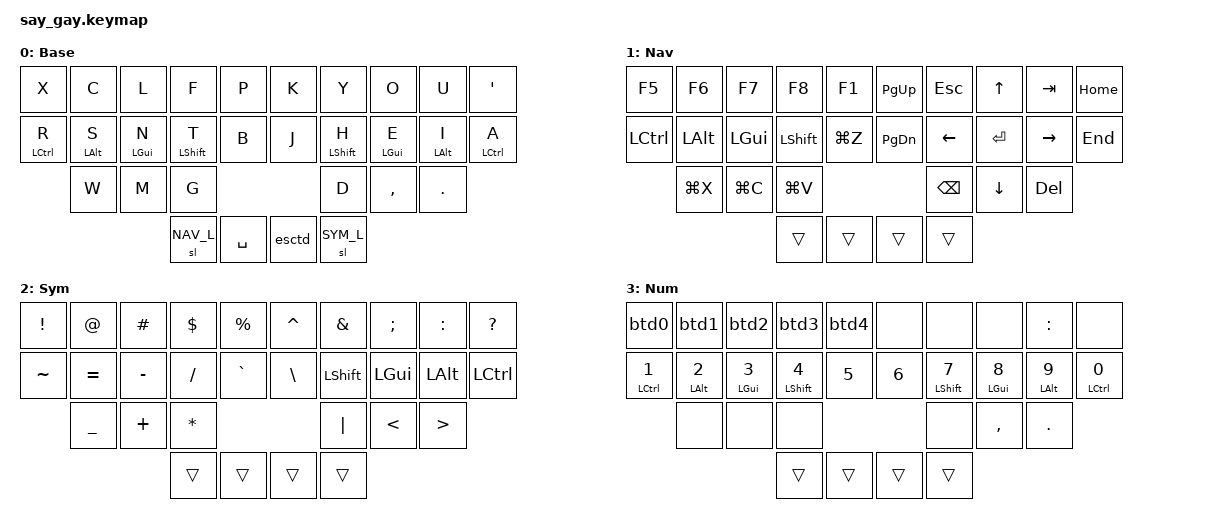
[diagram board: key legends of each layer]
/*
 * Copyright (c) 2020 The ZMK Contributors
 *
 * SPDX-License-Identifier: MIT
 */

#include <behaviors.dtsi>
#include <dt-bindings/zmk/keys.h>
#include <dt-bindings/zmk/bt.h>

/* Layers */
#define DEF_L 0
#define NAV_L 1
#define SYM_L 2
#define NUM_L 3

/* Shortcuts */
#define CUT LG(X)
#define COPY LG(C)
#define PASTE LG(V)
#define UNDO LG(Z)
#define SALL LG(A)

/* Key position groups */
#define KEYS_L 0 1 2 3 4 10 11 12 13 14 20 21 22
#define KEYS_R 5 6 7 8 9 15 16 17 18 19 23 24 25
#define THUMBS 26 27 28 29

/* Behavior Settings */
&sk {
  release-after-ms = <250>;
  quick-release;
};

&sl {
  release-after-ms = <250>;
};

/ {
    behaviors {
        mtl: mod_tap_left {
            compatible = "zmk,behavior-hold-tap";
            display-name = "MOD_TAP_LEFT";
            #binding-cells = <2>;
            flavor = "balanced";
            tapping-term-ms = <280>;
            quick-tap-ms = <175>;
            bindings = <&kp>, <&kp>;
            hold-trigger-key-positions = <KEYS_R THUMBS>;
	    hold-trigger-on-release;
        };
        mtr: mod_tap_right {
            compatible = "zmk,behavior-hold-tap";
            display-name = "MOD_TAP_RIGHT";
            #binding-cells = <2>;
            flavor = "balanced";
            tapping-term-ms = <280>;
            quick-tap-ms = <175>;
            bindings = <&kp>, <&kp>;
            hold-trigger-key-positions = <KEYS_L THUMBS>;
	    hold-trigger-on-release;
        };
        btd0: bluetooth_tap_dance0 {
            compatible = "zmk,behavior-tap-dance";
            display-name = "BT TD0";
            #binding-cells = <0>;
            tapping-term-ms = <200>;
            bindings = <&none>, <&bt BT_SEL 0>;
        };
        btd1: bluetooth_tap_dance1 {
            compatible = "zmk,behavior-tap-dance";
            display-name = "BT TD1";
            #binding-cells = <0>;
            tapping-term-ms = <200>;
            bindings = <&none>, <&bt BT_SEL 1>;
        };
        btd2: bluetooth_tap_dance2 {
            compatible = "zmk,behavior-tap-dance";
            display-name = "BT TD2";
            #binding-cells = <0>;
            tapping-term-ms = <200>;
            bindings = <&none>, <&bt BT_SEL 2>;
        };
        btd3: bluetooth_tap_dance3 {
            compatible = "zmk,behavior-tap-dance";
            display-name = "BT TD3";
            #binding-cells = <0>;
            tapping-term-ms = <200>;
            bindings = <&none>, <&bt BT_SEL 3>;
        };
        btd4: bluetooth_tap_dance4 {
            compatible = "zmk,behavior-tap-dance";
            display-name = "BT TD4";
            #binding-cells = <0>;
            tapping-term-ms = <200>;
            bindings = <&none>, <&bt BT_SEL 4>;
        };
        esctd: shift_escape_tap_dance {
            compatible = "zmk,behavior-tap-dance";
            display-name = "Shift Escape";
            #binding-cells = <0>;
            tapping-term-ms = <200>;
            bindings = <&kp LSHFT>, <&kp ESC>;
        };
    };
    conditional_layers {
        compatible = "zmk,conditional-layers";
        tri_layer {
            if-layers = <NAV_L SYM_L>;
            then-layer = <NUM_L>;
        };
    };
    combos {
        compatible = "zmk,combos";

        /*
           0   1   2   3   4          5   6   7   8   9
          10  11  12  13  14         15  16  17  18  19
              20  21  22                 23  24  25
                  26  27          28  29
        */

        /* Letters */
        v { key-positions = <1 2>; bindings = <&kp V>; layers = <DEF_L>; };
        q { key-positions = <2 3>; bindings = <&kp Q>; layers = <DEF_L>; };
        z { key-positions = <20 21>; bindings = <&kp Z>; layers = <DEF_L>; };

        /* Brackets */
        lpar { key-positions = <3 13>; bindings = <&kp LPAR>; layers = <DEF_L SYM_L NUM_L>; };
        rpar { key-positions = <6 16>; bindings = <&kp RPAR>; layers = <DEF_L SYM_L NUM_L>; };
        lbrc { key-positions = <2 12>; bindings = <&kp LBRC>; layers = <DEF_L SYM_L NUM_L>; };
        rbrc { key-positions = <7 17>; bindings = <&kp RBRC>; layers = <DEF_L SYM_L NUM_L>; };
        lbkt { key-positions = <1 11>; bindings = <&kp LBKT>; layers = <DEF_L SYM_L NUM_L>; };
        rbkt { key-positions = <8 18>; bindings = <&kp RBKT>; layers = <DEF_L SYM_L NUM_L>; };

        /* Convenience */
        del { key-positions = <4 14>; bindings = <&kp DEL>; };
        esc { key-positions = <5 15>; bindings = <&kp ESC>; };
        slall { key-positions = <20 21>; bindings = <&kp SALL>; layers = <NAV_L>; };
        tab { key-positions = <11 12 13>; bindings = <&kp TAB>; };
        enter { key-positions = <16 17 18>; bindings = <&kp ENTER>; };
        bspc { key-positions = <7 8>; bindings = <&kp BSPC>; layers = <SYM_L NAV_L NUM_L>; };

        btclr { key-positions = <1 2 3>; bindings = <&bt BT_CLR>; layers = <NUM_L>; };

    };
    keymap {
        compatible = "zmk,keymap";
        default_layer {
            display-name = "Base";
            bindings = <
//╭─────────────┬─────────────┬─────────────┬─────────────┬─────────────╮ ╭─────────────┬─────────────┬─────────────┬─────────────┬─────────────╮
    &kp X         &kp C         &kp L         &kp F         &kp P           &kp K         &kp Y         &kp O         &kp U         &kp QUOT
//├─────────────┼─────────────┼─────────────┼─────────────┼─────────────┤ ├─────────────┼─────────────┼─────────────┼─────────────┼─────────────┤
    &mtl LCTRL R  &mtl LALT S   &mtl LGUI N   &mtl LSHFT T  &kp B           &kp J         &mtr LSHFT H  &mtr LGUI E   &mtr LALT I   &mtr LCTRL A
//╰─────────────┼─────────────┼─────────────┼─────────────┼─────────────╯ ╰─────────────┼─────────────┼─────────────┼─────────────┼─────────────╯
                  &kp W         &kp M         &kp G                                       &kp D         &kp COMMA     &kp DOT
//              ╰─────────────┴─────────────┼─────────────┼─────────────╮ ╭─────────────┼─────────────┼─────────────┴─────────────╯
                                              &sl NAV_L     &kp SPACE       &esctd        &sl SYM_L
//                                          ╰─────────────┴─────────────╯ ╰─────────────┴─────────────╯
            >;
        };

        nav_layer {
	    display-name = "Nav";
            bindings = <
//╭─────────────┬─────────────┬─────────────┬─────────────┬─────────────╮ ╭─────────────┬─────────────┬─────────────┬─────────────┬─────────────╮
    &kp F5        &kp F6        &kp F7        &kp F8        &kp F1          &kp PG_UP     &kp ESC       &kp UP        &kp TAB       &kp HOME
//├─────────────┼─────────────┼─────────────┼─────────────┼─────────────┤ ├─────────────┼─────────────┼─────────────┼─────────────┼─────────────┤
    &kp LCTRL     &kp LALT      &kp LGUI      &kp LSHFT     &kp UNDO        &kp PG_DN     &kp LEFT      &kp ENTER     &kp RIGHT     &kp END
//╰─────────────┼─────────────┼─────────────┼─────────────┼─────────────╯ ╰─────────────┼─────────────┼─────────────┼─────────────┼─────────────╯
                  &kp CUT       &kp COPY      &kp PASTE                                   &kp BSPC      &kp DOWN      &kp DEL
//              ╰─────────────┴─────────────┼─────────────┼─────────────╮ ╭─────────────┼─────────────┼─────────────┴─────────────╯
                                              &trans        &trans          &trans        &trans
//                                          ╰─────────────┴─────────────╯ ╰─────────────┴─────────────╯
            >;
        };

        sym_layer {
            display-name = "Sym";
            bindings = <
//╭─────────────┬─────────────┬─────────────┬─────────────┬─────────────╮ ╭─────────────┬─────────────┬─────────────┬─────────────┬─────────────╮
    &kp EXCL      &kp AT        &kp HASH      &kp DLLR      &kp PRCNT       &kp CARET     &kp AMPS      &kp SEMI      &kp COLON     &kp QMARK
//├─────────────┼─────────────┼─────────────┼─────────────┼─────────────┤ ├─────────────┼─────────────┼─────────────┼─────────────┼─────────────┤
    &kp TILDE     &kp EQUAL     &kp MINUS     &kp FSLH      &kp GRAVE       &kp BSLH      &kp LSHFT     &kp LGUI      &kp LALT      &kp LCTRL
//╰─────────────┼─────────────┼─────────────┼─────────────┼─────────────╯ ╰─────────────┼─────────────┼─────────────┼─────────────┼─────────────╯
                  &kp UNDER     &kp PLUS      &kp ASTRK                                   &kp PIPE      &kp LT        &kp GT
//              ╰─────────────┴─────────────┼─────────────┼─────────────╮ ╭─────────────┼─────────────┼─────────────┴─────────────╯
                                              &trans        &trans          &trans        &trans
//                                          ╰─────────────┴─────────────╯ ╰─────────────┴─────────────╯
            >;
        };

        num {
            display-name = "Num";
            bindings = <
//╭─────────────┬─────────────┬─────────────┬─────────────┬─────────────╮ ╭─────────────┬─────────────┬─────────────┬─────────────┬─────────────╮
    &btd0         &btd1         &btd2         &btd3         &btd4           &none         &none         &none         &kp COLON     &none
//├─────────────┼─────────────┼─────────────┼─────────────┼─────────────┤ ├─────────────┼─────────────┼─────────────┼─────────────┼─────────────┤
    &mtl LCTRL N1  &mtl LALT N2  &mtl LGUI N3 &mtl LSHFT N4 &kp N5          &kp N6        &mtr LSHFT N7 &mtr LGUI N8 &mtr LALT N9  &mtr LCTRL N0
//╰─────────────┼─────────────┼─────────────┼─────────────┼─────────────╯ ╰─────────────┼─────────────┼─────────────┼─────────────┼─────────────╯
                  &none         &none         &none                                       &none         &kp COMMA     &kp DOT
//              ╰─────────────┴─────────────┼─────────────┼─────────────╮ ╭─────────────┼─────────────┼─────────────┴─────────────╯
                                              &trans        &trans          &trans        &trans
//                                          ╰─────────────┴─────────────╯ ╰─────────────┴─────────────╯
            >;
        };
    };
};
